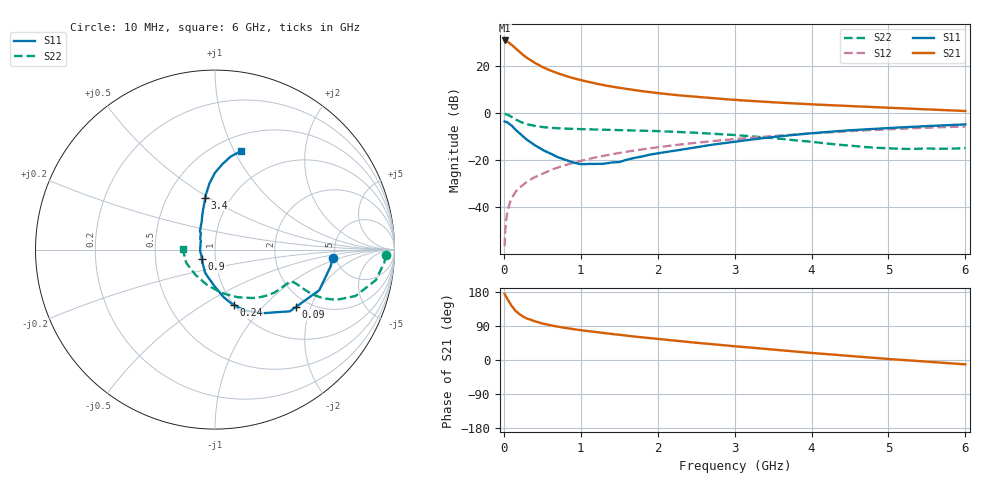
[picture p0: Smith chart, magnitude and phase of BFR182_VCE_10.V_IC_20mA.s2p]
! Infineon Technologies  Discrete & RF Semiconductors
! BFR182
! VCE =  10. V,  IC =  20 mA
! Common Emitter S-Parameters:  Nov 2015
# GHz  S  MA  R  50
!  f  S11  S21  S12  S22
! GHz  MAG  ANG  MAG  ANG  MAG  ANG  MAG  ANG
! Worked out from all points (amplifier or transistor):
!   210 points, 10 MHz to 6 GHz, reference 50 ohm
!   highest |S21| = 30.7 dB at 10 MHz (marker M1)
!   |S21| within 3 dB of that: start of sweep to 140.6 MHz
!   unconditionally stable (mu >= 1): 663.1 MHz to 2.758 GHz
!   at 185 MHz: K = 0.66, MSG = 29.3 dB, |S12| = -32.3 dB
!   at 1.52 GHz: K = 1.04, MAG = 12.4 dB, |S12| = -16.9 dB
!   at 6 GHz: K = 0.90, MSG = 3.3 dB, |S12| = -5.8 dB
!   S11 on the Smith chart (normalised r, x): 10 MHz: 4.72, -0.78; 90 MHz: 1.72, -1.58; 240 MHz: 1.00, -0.69; 900 MHz: 0.86, -0.09; 3.4 GHz: 0.76, +0.49; 6 GHz: 0.66, +1.07
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0.01  0.6584 -4.1  34.13 174.4  0.0015 77.2  0.9527 -1.8
0.02  0.6504 -8.4  33.73 170.4  0.0035 72.3  0.9459 -4.4
0.05  0.6237 -21.2  32.07 159.3  0.0085 76.8  0.9125 -10.7
0.09  0.5524 -35.4  28.48 146.6  0.0139 73.5  0.8404 -16.7
0.1  0.5407 -39.5  27.83 143.0  0.0153 73.0  0.824 -18.3
0.15  0.4429 -53.2  23.44 129.8  0.0209 69.8  0.7295 -22.6
0.2  0.3771 -64.0  19.78 121.4  0.0257 70.2  0.6616 -24.2
0.24  0.3275 -70.9  17.42 116.0  0.029 69.6  0.6215 -24.5
0.26  0.3062 -74.1  16.4 113.5  0.0308 69.6  0.6039 -24.6
0.3  0.2687 -79.8  14.62 109.3  0.0346 70.0  0.5734 -24.5
0.4  0.2072 -90.0  11.51 102.2  0.0432 71.1  0.5282 -23.6
0.5  0.165 -101.9  9.36 96.3  0.0512 71.9  0.5004 -23.0
0.7  0.1154 -123.1  6.899 87.9  0.0694 72.3  0.4711 -22.6
0.9  0.0892 -145.2  5.425 81.4  0.0873 71.5  0.457 -23.1
1.02  0.0818 -161.4  4.844 78.1  0.0979 71.1  0.4507 -23.9
1.4  0.0888 156.0  3.597 68.7  0.1323 69.0  0.4355 -27.6
2.02  0.1408 125.7  2.599 55.2  0.1885 63.6  0.4091 -35.7
3.1  0.2564 103.8  1.837 34.6  0.2865 52.8  0.3287 -54.9
3.4  0.295 100.6  1.709 29.3  0.3137 49.6  0.3008 -62.2
4.1  0.381 93.7  1.489 17.1  0.3754 41.6  0.2334 -84.9
5.1  0.486 84.2  1.266 1.3  0.4561 29.7  0.1745 -132.6
6  0.5691 75.1  1.093 -11.5  0.5142 17.9  0.1795 179.1
